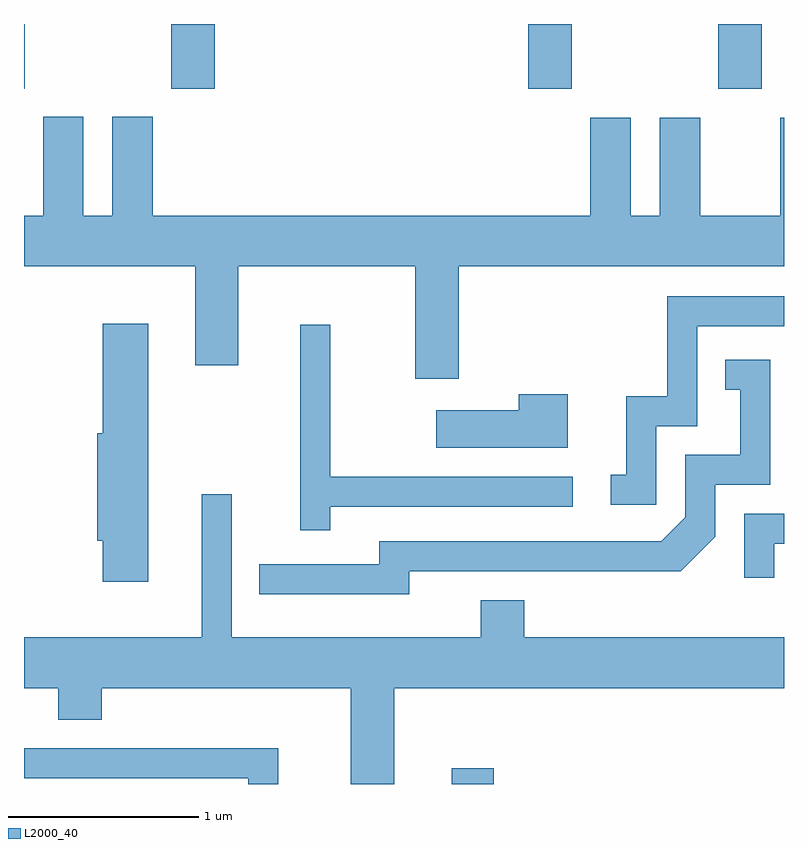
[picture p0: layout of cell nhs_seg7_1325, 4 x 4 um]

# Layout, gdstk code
import gdstk
lib = gdstk.Library(unit=1e-6, precision=1e-09)
def R(c, l, rs):  # rectangles x0, y0, x1, y1
    for r in rs: c.add(gdstk.rectangle(r[:2], r[2:], *l))
def P(c, l, *ps):  # polygons
    for p in ps: c.add(gdstk.Polygon(p, *l))
L2000_40 = (2000, 40)

nhs_seg7_1325 = lib.new_cell('nhs_seg7_1325')
R(nhs_seg7_1325, L2000_40, [(227.861,1718.252,228.084,1718.334), (225.611,1721.911,225.614,1722.252), (226.386,1721.911,226.614,1722.252), (228.266,1721.911,228.494,1722.252), (229.266,1721.911,229.494,1722.252)])
P(nhs_seg7_1325, L2000_40, [(229.611,1721.759),(229.591,1721.759),(229.591,1721.244),(229.169,1721.244),(229.169,1721.759),(228.956,1721.759),(228.956,1721.244),(228.804,1721.244),(228.804,1721.759),(228.591,1721.759),(228.591,1721.244),(226.289,1721.244),(226.289,1721.764),(226.076,1721.764),(226.076,1721.244),(225.924,1721.244),(225.924,1721.764),(225.711,1721.764),(225.711,1721.244),(225.611,1721.244),(225.611,1720.976),(226.511,1720.976),(226.511,1720.456),(226.739,1720.456),(226.739,1720.976),(227.671,1720.976),(227.671,1720.386),(227.899,1720.386),(227.899,1720.976),(229.611,1720.976)],
  [(228.939,1720.136),(229.154,1720.136),(229.154,1720.661),(229.611,1720.661),(229.611,1720.819),(228.996,1720.819),(228.996,1720.294),(228.781,1720.294),(228.781,1719.879),(228.698,1719.879),(228.698,1719.721),(228.939,1719.721)],
  [(226.264,1720.674),(226.026,1720.674),(226.026,1720.099),(225.996,1720.099),(225.996,1719.531),(226.026,1719.531),(226.026,1719.316),(226.264,1719.316)],
  [(227.224,1719.711),(228.498,1719.711),(228.498,1719.869),(227.224,1719.869),(227.224,1720.668),(227.066,1720.668),(227.066,1719.588),(227.224,1719.588)],
  [(227.639,1719.371),(229.067,1719.371),(229.249,1719.554),(229.249,1719.826),(229.539,1719.826),(229.539,1720.484),(229.303,1720.484),(229.303,1720.326),(229.381,1720.326),(229.381,1719.984),(229.091,1719.984),(229.091,1719.657),(228.964,1719.529),(227.481,1719.529),(227.481,1719.409),(226.848,1719.409),(226.848,1719.251),(227.639,1719.251)],
  [(228.474,1720.304),(228.216,1720.304),(228.216,1720.219),(227.781,1720.219),(227.781,1720.021),(228.474,1720.021)],
  [(227.559,1718.756),(229.611,1718.756),(229.611,1719.024),(228.244,1719.024),(228.244,1719.219),(228.016,1719.219),(228.016,1719.024),(226.704,1719.024),(226.704,1719.778),(226.546,1719.778),(226.546,1719.024),(225.611,1719.024),(225.611,1718.756),(225.791,1718.756),(225.791,1718.591),(226.019,1718.591),(226.019,1718.756),(227.331,1718.756),(227.331,1718.252),(227.559,1718.252)],
  [(229.559,1719.516),(229.611,1719.516),(229.611,1719.674),(229.401,1719.674),(229.401,1719.338),(229.559,1719.338)],
  [(226.949,1718.439),(225.611,1718.439),(225.611,1718.281),(226.791,1718.281),(226.791,1718.252),(226.949,1718.252)])

lib.write_gds('nhs_seg7_1325.gds')
